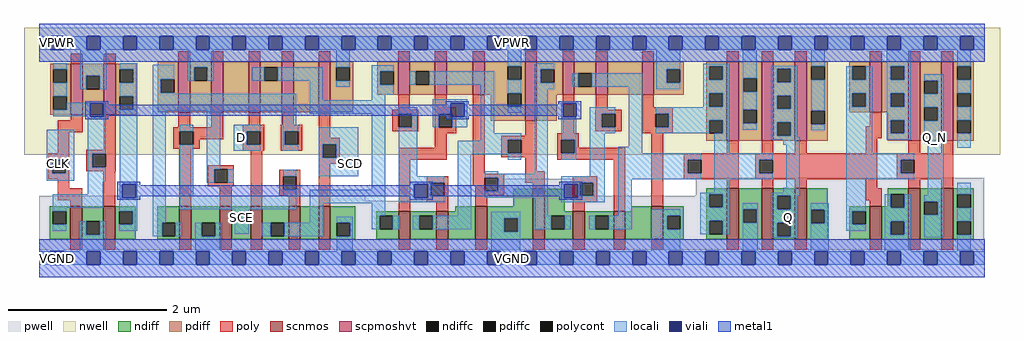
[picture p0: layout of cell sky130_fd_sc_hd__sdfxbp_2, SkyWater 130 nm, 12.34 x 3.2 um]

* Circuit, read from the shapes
.subckt sky130_fd_sc_hd__sdfxbp_2 CLK D SCD SCE VGND VNB VPB VPWR Q Q_N
XM1 VGND CLK n1 VNB sky130_fd_pr__nfet_01v8 w=0.42 l=0.15
XM2 n2 n1 VGND VNB sky130_fd_pr__nfet_01v8 w=0.42 l=0.15
XM3 VGND SCE n3 VNB sky130_fd_pr__nfet_01v8 w=0.42 l=0.15
XM4 n4 n3 VGND VNB sky130_fd_pr__nfet_01v8 w=0.42 l=0.15
XM5 n5 D n4 VNB sky130_fd_pr__nfet_01v8 w=0.42 l=0.15
XM6 n6 SCE n5 VNB sky130_fd_pr__nfet_01v8 w=0.42 l=0.15
XM7 VGND SCD n6 VNB sky130_fd_pr__nfet_01v8 w=0.42 l=0.15
XM8 n7 n1 n5 VNB sky130_fd_pr__nfet_01v8 w=0.36 l=0.15
XM9 n8 n2 n7 VNB sky130_fd_pr__nfet_01v8 w=0.36 l=0.15
XM10 VGND n9 n8 VNB sky130_fd_pr__nfet_01v8 w=0.42 l=0.15
XM11 n9 n7 VGND VNB sky130_fd_pr__nfet_01v8 w=0.64 l=0.15
XM12 n10 n2 n9 VNB sky130_fd_pr__nfet_01v8 w=0.36 l=0.15
XM13 n11 n1 n10 VNB sky130_fd_pr__nfet_01v8 w=0.36 l=0.15
XM14 VGND n12 n11 VNB sky130_fd_pr__nfet_01v8 w=0.42 l=0.15
XM15 VGND n10 n12 VNB sky130_fd_pr__nfet_01v8 w=0.65 l=0.15
XM16 Q n12 VGND VNB sky130_fd_pr__nfet_01v8 w=0.65 l=0.15 m=2
XM17 VGND n12 n13 VNB sky130_fd_pr__nfet_01v8 w=0.42 l=0.15
XM18 Q_N n13 VGND VNB sky130_fd_pr__nfet_01v8 w=0.65 l=0.15 m=2
XM19 VPWR CLK n1 VPB sky130_fd_pr__pfet_01v8_hvt w=0.64 l=0.15
XM20 n2 n1 VPWR VPB sky130_fd_pr__pfet_01v8_hvt w=0.64 l=0.15
XM21 VPWR SCE n3 VPB sky130_fd_pr__pfet_01v8_hvt w=0.64 l=0.15
XM22 n14 SCE VPWR VPB sky130_fd_pr__pfet_01v8_hvt w=0.64 l=0.15
XM23 n5 D n14 VPB sky130_fd_pr__pfet_01v8_hvt w=0.64 l=0.15
XM24 n15 n3 n5 VPB sky130_fd_pr__pfet_01v8_hvt w=0.64 l=0.15
XM25 VPWR SCD n15 VPB sky130_fd_pr__pfet_01v8_hvt w=0.64 l=0.15
XM26 n7 n2 n5 VPB sky130_fd_pr__pfet_01v8_hvt w=0.42 l=0.15
XM27 n16 n1 n7 VPB sky130_fd_pr__pfet_01v8_hvt w=0.42 l=0.15
XM28 VPWR n9 n16 VPB sky130_fd_pr__pfet_01v8_hvt w=0.42 l=0.15
XM29 n9 n7 VPWR VPB sky130_fd_pr__pfet_01v8_hvt w=0.75 l=0.15
XM30 n10 n1 n9 VPB sky130_fd_pr__pfet_01v8_hvt w=0.42 l=0.15
XM31 n17 n2 n10 VPB sky130_fd_pr__pfet_01v8_hvt w=0.42 l=0.15
XM32 VPWR n12 n17 VPB sky130_fd_pr__pfet_01v8_hvt w=0.42 l=0.15
XM33 VPWR n10 n12 VPB sky130_fd_pr__pfet_01v8_hvt w=1 l=0.15
XM34 Q n12 VPWR VPB sky130_fd_pr__pfet_01v8_hvt w=1 l=0.15 m=2
XM35 VPWR n12 n13 VPB sky130_fd_pr__pfet_01v8_hvt w=0.64 l=0.15
XM36 Q_N n13 VPWR VPB sky130_fd_pr__pfet_01v8_hvt w=1 l=0.15 m=2
.ends

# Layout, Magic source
magic
tech sky130B
magscale 1 2
<< nwell >>
rect -38 261 2430 582
<< pwell >>
rect 1173 157 1355 201
rect 1661 157 2390 203
rect 1 145 825 157
rect 1027 145 2390 157
rect 1 21 2390 145
rect 29 -17 63 21
<< scnmos >>
rect 79 47 109 131
rect 163 47 193 131
rect 355 47 385 131
rect 457 47 487 131
rect 535 47 565 131
rect 631 47 661 131
rect 707 47 737 131
rect 909 47 939 119
rect 1005 47 1035 119
rect 1103 47 1133 131
rect 1249 47 1279 175
rect 1350 47 1380 119
rect 1453 47 1483 119
rect 1548 47 1578 131
rect 1739 47 1769 177
rect 1827 47 1857 177
rect 1911 47 1941 177
rect 2101 47 2131 131
rect 2198 47 2228 177
rect 2282 47 2312 177
<< scpmoshvt >>
rect 80 363 110 491
rect 164 363 194 491
rect 352 369 382 497
rect 436 369 466 497
rect 530 369 560 497
rect 614 369 644 497
rect 707 369 737 497
rect 908 413 938 497
rect 1001 413 1031 497
rect 1097 413 1127 497
rect 1229 347 1259 497
rect 1324 413 1354 497
rect 1408 413 1438 497
rect 1525 413 1555 497
rect 1739 297 1769 497
rect 1827 297 1857 497
rect 1911 297 1941 497
rect 2101 369 2131 497
rect 2198 297 2228 497
rect 2282 297 2312 497
<< ndiff >>
rect 27 119 79 131
rect 27 85 35 119
rect 69 85 79 119
rect 27 47 79 85
rect 109 93 163 131
rect 109 59 119 93
rect 153 59 163 93
rect 109 47 163 59
rect 193 119 245 131
rect 193 85 203 119
rect 237 85 245 119
rect 193 47 245 85
rect 299 89 355 131
rect 299 55 311 89
rect 345 55 355 89
rect 299 47 355 55
rect 385 89 457 131
rect 385 55 411 89
rect 445 55 457 89
rect 385 47 457 55
rect 487 47 535 131
rect 565 89 631 131
rect 565 55 586 89
rect 620 55 631 89
rect 565 47 631 55
rect 661 47 707 131
rect 737 89 799 131
rect 1199 131 1249 175
rect 1053 119 1103 131
rect 737 55 753 89
rect 787 55 799 89
rect 737 47 799 55
rect 853 107 909 119
rect 853 73 861 107
rect 895 73 909 107
rect 853 47 909 73
rect 939 107 1005 119
rect 939 73 961 107
rect 995 73 1005 107
rect 939 47 1005 73
rect 1035 47 1103 119
rect 1133 101 1249 131
rect 1133 67 1177 101
rect 1211 67 1249 101
rect 1133 47 1249 67
rect 1279 119 1329 175
rect 1687 162 1739 177
rect 1498 119 1548 131
rect 1279 107 1350 119
rect 1279 73 1295 107
rect 1329 73 1350 107
rect 1279 47 1350 73
rect 1380 107 1453 119
rect 1380 73 1407 107
rect 1441 73 1453 107
rect 1380 47 1453 73
rect 1483 47 1548 119
rect 1578 107 1630 131
rect 1578 73 1588 107
rect 1622 73 1630 107
rect 1578 47 1630 73
rect 1687 128 1695 162
rect 1729 128 1739 162
rect 1687 94 1739 128
rect 1687 60 1695 94
rect 1729 60 1739 94
rect 1687 47 1739 60
rect 1769 123 1827 177
rect 1769 89 1781 123
rect 1815 89 1827 123
rect 1769 47 1827 89
rect 1857 157 1911 177
rect 1857 123 1867 157
rect 1901 123 1911 157
rect 1857 89 1911 123
rect 1857 55 1867 89
rect 1901 55 1911 89
rect 1857 47 1911 55
rect 1941 122 1995 177
rect 2146 161 2198 177
rect 2146 131 2154 161
rect 1941 88 1953 122
rect 1987 88 1995 122
rect 1941 47 1995 88
rect 2049 119 2101 131
rect 2049 85 2057 119
rect 2091 85 2101 119
rect 2049 47 2101 85
rect 2131 127 2154 131
rect 2188 127 2198 161
rect 2131 93 2198 127
rect 2131 59 2154 93
rect 2188 59 2198 93
rect 2131 47 2198 59
rect 2228 143 2282 177
rect 2228 109 2238 143
rect 2272 109 2282 143
rect 2228 47 2282 109
rect 2312 161 2364 177
rect 2312 127 2322 161
rect 2356 127 2364 161
rect 2312 93 2364 127
rect 2312 59 2322 93
rect 2356 59 2364 93
rect 2312 47 2364 59
<< pdiff >>
rect 28 477 80 491
rect 28 443 36 477
rect 70 443 80 477
rect 28 409 80 443
rect 28 375 36 409
rect 70 375 80 409
rect 28 363 80 375
rect 110 461 164 491
rect 110 427 120 461
rect 154 427 164 461
rect 110 363 164 427
rect 194 477 246 491
rect 194 443 204 477
rect 238 443 246 477
rect 194 409 246 443
rect 194 375 204 409
rect 238 375 246 409
rect 194 363 246 375
rect 300 452 352 497
rect 300 418 308 452
rect 342 418 352 452
rect 300 369 352 418
rect 382 483 436 497
rect 382 449 392 483
rect 426 449 436 483
rect 382 369 436 449
rect 466 369 530 497
rect 560 483 614 497
rect 560 449 570 483
rect 604 449 614 483
rect 560 369 614 449
rect 644 369 707 497
rect 737 483 794 497
rect 737 449 752 483
rect 786 449 794 483
rect 737 369 794 449
rect 855 472 908 497
rect 855 438 863 472
rect 897 438 908 472
rect 855 413 908 438
rect 938 472 1001 497
rect 938 438 953 472
rect 987 438 1001 472
rect 938 413 1001 438
rect 1031 413 1097 497
rect 1127 485 1229 497
rect 1127 451 1185 485
rect 1219 451 1229 485
rect 1127 417 1229 451
rect 1127 413 1185 417
rect 1142 383 1185 413
rect 1219 383 1229 417
rect 1142 347 1229 383
rect 1259 477 1324 497
rect 1259 443 1269 477
rect 1303 443 1324 477
rect 1259 413 1324 443
rect 1354 467 1408 497
rect 1354 433 1364 467
rect 1398 433 1408 467
rect 1354 413 1408 433
rect 1438 413 1525 497
rect 1555 477 1630 497
rect 1555 443 1587 477
rect 1621 443 1630 477
rect 1555 413 1630 443
rect 1687 485 1739 497
rect 1687 451 1695 485
rect 1729 451 1739 485
rect 1687 417 1739 451
rect 1259 347 1309 413
rect 1687 383 1695 417
rect 1729 383 1739 417
rect 1687 349 1739 383
rect 1687 315 1695 349
rect 1729 315 1739 349
rect 1687 297 1739 315
rect 1769 455 1827 497
rect 1769 421 1781 455
rect 1815 421 1827 455
rect 1769 375 1827 421
rect 1769 341 1781 375
rect 1815 341 1827 375
rect 1769 297 1827 341
rect 1857 479 1911 497
rect 1857 445 1867 479
rect 1901 445 1911 479
rect 1857 411 1911 445
rect 1857 377 1867 411
rect 1901 377 1911 411
rect 1857 343 1911 377
rect 1857 309 1867 343
rect 1901 309 1911 343
rect 1857 297 1911 309
rect 1941 485 1995 497
rect 1941 451 1953 485
rect 1987 451 1995 485
rect 1941 373 1995 451
rect 1941 339 1953 373
rect 1987 339 1995 373
rect 2049 485 2101 497
rect 2049 451 2057 485
rect 2091 451 2101 485
rect 2049 417 2101 451
rect 2049 383 2057 417
rect 2091 383 2101 417
rect 2049 369 2101 383
rect 2131 485 2198 497
rect 2131 451 2154 485
rect 2188 451 2198 485
rect 2131 417 2198 451
rect 2131 383 2154 417
rect 2188 383 2198 417
rect 2131 369 2198 383
rect 1941 297 1995 339
rect 2146 349 2198 369
rect 2146 315 2154 349
rect 2188 315 2198 349
rect 2146 297 2198 315
rect 2228 449 2282 497
rect 2228 415 2238 449
rect 2272 415 2282 449
rect 2228 381 2282 415
rect 2228 347 2238 381
rect 2272 347 2282 381
rect 2228 297 2282 347
rect 2312 485 2364 497
rect 2312 451 2322 485
rect 2356 451 2364 485
rect 2312 417 2364 451
rect 2312 383 2322 417
rect 2356 383 2364 417
rect 2312 349 2364 383
rect 2312 315 2322 349
rect 2356 315 2364 349
rect 2312 297 2364 315
<< ndiffc >>
rect 35 85 69 119
rect 119 59 153 93
rect 203 85 237 119
rect 311 55 345 89
rect 411 55 445 89
rect 586 55 620 89
rect 753 55 787 89
rect 861 73 895 107
rect 961 73 995 107
rect 1177 67 1211 101
rect 1295 73 1329 107
rect 1407 73 1441 107
rect 1588 73 1622 107
rect 1695 128 1729 162
rect 1695 60 1729 94
rect 1781 89 1815 123
rect 1867 123 1901 157
rect 1867 55 1901 89
rect 1953 88 1987 122
rect 2057 85 2091 119
rect 2154 127 2188 161
rect 2154 59 2188 93
rect 2238 109 2272 143
rect 2322 127 2356 161
rect 2322 59 2356 93
<< pdiffc >>
rect 36 443 70 477
rect 36 375 70 409
rect 120 427 154 461
rect 204 443 238 477
rect 204 375 238 409
rect 308 418 342 452
rect 392 449 426 483
rect 570 449 604 483
rect 752 449 786 483
rect 863 438 897 472
rect 953 438 987 472
rect 1185 451 1219 485
rect 1185 383 1219 417
rect 1269 443 1303 477
rect 1364 433 1398 467
rect 1587 443 1621 477
rect 1695 451 1729 485
rect 1695 383 1729 417
rect 1695 315 1729 349
rect 1781 421 1815 455
rect 1781 341 1815 375
rect 1867 445 1901 479
rect 1867 377 1901 411
rect 1867 309 1901 343
rect 1953 451 1987 485
rect 1953 339 1987 373
rect 2057 451 2091 485
rect 2057 383 2091 417
rect 2154 451 2188 485
rect 2154 383 2188 417
rect 2154 315 2188 349
rect 2238 415 2272 449
rect 2238 347 2272 381
rect 2322 451 2356 485
rect 2322 383 2356 417
rect 2322 315 2356 349
<< poly >>
rect 80 491 110 517
rect 164 491 194 517
rect 352 497 382 523
rect 436 497 466 523
rect 530 497 560 523
rect 614 497 644 523
rect 707 497 737 523
rect 908 497 938 523
rect 1001 497 1031 523
rect 1097 497 1127 523
rect 1229 497 1259 523
rect 1324 497 1354 523
rect 1408 497 1438 523
rect 1525 497 1555 523
rect 1739 497 1769 523
rect 1827 497 1857 523
rect 1911 497 1941 523
rect 2101 497 2131 523
rect 2198 497 2228 523
rect 2282 497 2312 523
rect 908 375 938 413
rect 1001 381 1031 413
rect 80 348 110 363
rect 47 318 110 348
rect 47 265 77 318
rect 164 274 194 363
rect 352 331 382 369
rect 436 331 466 369
rect 530 337 560 369
rect 614 337 644 369
rect 340 321 466 331
rect 340 287 356 321
rect 390 301 466 321
rect 515 321 569 337
rect 390 287 406 301
rect 340 277 406 287
rect 515 287 525 321
rect 559 287 569 321
rect 23 249 77 265
rect 23 215 33 249
rect 67 215 77 249
rect 119 264 194 274
rect 119 230 135 264
rect 169 230 194 264
rect 119 220 194 230
rect 23 199 77 215
rect 47 176 77 199
rect 47 146 109 176
rect 79 131 109 146
rect 163 131 193 220
rect 355 131 385 277
rect 515 271 569 287
rect 611 321 665 337
rect 611 287 621 321
rect 655 287 665 321
rect 611 271 665 287
rect 707 304 737 369
rect 893 365 959 375
rect 893 331 909 365
rect 943 331 959 365
rect 893 321 959 331
rect 1001 365 1055 381
rect 1001 331 1011 365
rect 1045 331 1055 365
rect 1001 315 1055 331
rect 707 288 761 304
rect 427 225 493 235
rect 427 191 443 225
rect 477 191 493 225
rect 427 181 493 191
rect 457 131 487 181
rect 535 131 565 271
rect 707 254 717 288
rect 751 254 761 288
rect 1001 279 1031 315
rect 707 238 761 254
rect 909 249 1031 279
rect 607 207 661 223
rect 607 173 617 207
rect 651 173 661 207
rect 607 157 661 173
rect 631 131 661 157
rect 707 131 737 238
rect 909 119 939 249
rect 1097 213 1127 413
rect 1229 309 1259 347
rect 1324 315 1354 413
rect 1408 375 1438 413
rect 1525 381 1555 413
rect 1407 365 1473 375
rect 1407 331 1423 365
rect 1457 331 1473 365
rect 1407 321 1473 331
rect 1525 365 1603 381
rect 1525 331 1559 365
rect 1593 331 1603 365
rect 1525 315 1603 331
rect 1169 299 1259 309
rect 1169 265 1185 299
rect 1219 265 1259 299
rect 1169 255 1259 265
rect 1229 220 1259 255
rect 1311 299 1365 315
rect 1311 265 1321 299
rect 1355 279 1365 299
rect 1355 265 1483 279
rect 1311 249 1483 265
rect 981 191 1035 207
rect 981 157 991 191
rect 1025 157 1035 191
rect 1097 203 1177 213
rect 1097 183 1127 203
rect 981 141 1035 157
rect 1005 119 1035 141
rect 1103 169 1127 183
rect 1161 169 1177 203
rect 1229 190 1279 220
rect 1249 175 1279 190
rect 1350 191 1411 207
rect 1103 159 1177 169
rect 1103 131 1133 159
rect 1350 157 1367 191
rect 1401 157 1411 191
rect 1350 141 1411 157
rect 1350 119 1380 141
rect 1453 119 1483 249
rect 1548 131 1578 315
rect 2101 333 2131 369
rect 2090 303 2131 333
rect 1739 265 1769 297
rect 1827 265 1857 297
rect 1911 265 1941 297
rect 2090 265 2120 303
rect 2198 265 2228 297
rect 2282 265 2312 297
rect 1630 249 1769 265
rect 1630 215 1640 249
rect 1674 215 1769 249
rect 1630 199 1769 215
rect 1811 249 2120 265
rect 1811 215 1821 249
rect 1855 215 2120 249
rect 1811 199 2120 215
rect 2169 249 2312 265
rect 2169 215 2179 249
rect 2213 215 2312 249
rect 2169 199 2312 215
rect 1739 177 1769 199
rect 1827 177 1857 199
rect 1911 177 1941 199
rect 2090 176 2120 199
rect 2198 177 2228 199
rect 2282 177 2312 199
rect 2090 146 2131 176
rect 2101 131 2131 146
rect 79 21 109 47
rect 163 21 193 47
rect 355 21 385 47
rect 457 21 487 47
rect 535 21 565 47
rect 631 21 661 47
rect 707 21 737 47
rect 909 21 939 47
rect 1005 21 1035 47
rect 1103 21 1133 47
rect 1249 21 1279 47
rect 1350 21 1380 47
rect 1453 21 1483 47
rect 1548 21 1578 47
rect 1739 21 1769 47
rect 1827 21 1857 47
rect 1911 21 1941 47
rect 2101 21 2131 47
rect 2198 21 2228 47
rect 2282 21 2312 47
<< polycont >>
rect 356 287 390 321
rect 525 287 559 321
rect 33 215 67 249
rect 135 230 169 264
rect 621 287 655 321
rect 909 331 943 365
rect 1011 331 1045 365
rect 443 191 477 225
rect 717 254 751 288
rect 617 173 651 207
rect 1423 331 1457 365
rect 1559 331 1593 365
rect 1185 265 1219 299
rect 1321 265 1355 299
rect 991 157 1025 191
rect 1127 169 1161 203
rect 1367 157 1401 191
rect 1640 215 1674 249
rect 1821 215 1855 249
rect 2179 215 2213 249
<< locali >>
rect 0 527 29 561
rect 63 527 121 561
rect 155 527 213 561
rect 247 527 305 561
rect 339 527 397 561
rect 431 527 489 561
rect 523 527 581 561
rect 615 527 673 561
rect 707 527 765 561
rect 799 527 857 561
rect 891 527 949 561
rect 983 527 1041 561
rect 1075 527 1133 561
rect 1167 527 1225 561
rect 1259 527 1317 561
rect 1351 527 1409 561
rect 1443 527 1501 561
rect 1535 527 1593 561
rect 1627 527 1685 561
rect 1719 527 1777 561
rect 1811 527 1869 561
rect 1903 527 1961 561
rect 1995 527 2053 561
rect 2087 527 2145 561
rect 2179 527 2237 561
rect 2271 527 2329 561
rect 2363 527 2392 561
rect 36 477 70 493
rect 36 409 70 443
rect 104 461 170 527
rect 104 427 120 461
rect 154 427 170 461
rect 204 477 249 493
rect 238 443 249 477
rect 204 409 249 443
rect 70 391 169 393
rect 70 375 129 391
rect 36 359 129 375
rect 123 357 129 359
rect 163 357 169 391
rect 19 249 89 325
rect 19 215 33 249
rect 67 215 89 249
rect 19 195 89 215
rect 123 264 169 357
rect 123 230 135 264
rect 123 194 169 230
rect 238 375 249 409
rect 123 161 162 194
rect 35 127 162 161
rect 204 187 249 375
rect 204 153 210 187
rect 244 153 249 187
rect 204 143 249 153
rect 35 119 69 127
rect 203 119 249 143
rect 35 69 69 85
rect 103 59 119 93
rect 153 59 169 93
rect 237 85 249 119
rect 203 69 249 85
rect 287 452 342 489
rect 287 418 308 452
rect 376 483 442 527
rect 752 483 786 527
rect 376 449 392 483
rect 426 449 442 483
rect 539 449 570 483
rect 604 449 718 483
rect 287 415 342 418
rect 287 372 650 415
rect 287 89 321 372
rect 356 321 390 337
rect 356 157 390 287
rect 424 225 458 372
rect 616 337 650 372
rect 684 399 718 449
rect 752 433 786 449
rect 841 472 897 488
rect 1185 485 1219 527
rect 841 438 863 472
rect 937 438 953 472
rect 987 438 1151 472
rect 841 413 897 438
rect 841 399 875 413
rect 684 365 875 399
rect 995 391 1083 402
rect 492 321 559 337
rect 492 287 525 321
rect 492 271 559 287
rect 616 321 655 337
rect 616 287 621 321
rect 616 271 655 287
rect 707 288 807 331
rect 707 254 717 288
rect 751 254 807 288
rect 424 191 443 225
rect 477 191 493 225
rect 617 207 651 223
rect 707 207 807 254
rect 841 173 875 365
rect 617 157 651 173
rect 356 123 651 157
rect 685 139 875 173
rect 909 365 957 381
rect 943 331 957 365
rect 995 365 1041 391
rect 995 331 1011 365
rect 1075 357 1083 391
rect 1045 331 1083 357
rect 909 207 957 331
rect 1117 315 1151 438
rect 1185 417 1219 451
rect 1185 367 1219 383
rect 1253 477 1303 493
rect 1253 443 1269 477
rect 1561 477 1622 527
rect 1253 427 1303 443
rect 1348 433 1364 467
rect 1398 433 1525 467
rect 1117 299 1219 315
rect 1117 297 1185 299
rect 1059 265 1185 297
rect 1059 263 1219 265
rect 909 191 1025 207
rect 909 187 991 191
rect 909 153 949 187
rect 983 157 991 187
rect 983 153 1025 157
rect 909 141 1025 153
rect 103 17 169 59
rect 287 55 311 89
rect 345 55 361 89
rect 395 55 411 89
rect 445 55 461 89
rect 495 61 530 123
rect 685 89 719 139
rect 841 107 875 139
rect 1059 107 1093 263
rect 1185 249 1219 263
rect 1127 213 1161 219
rect 1253 213 1287 427
rect 1321 391 1359 393
rect 1321 357 1325 391
rect 1321 299 1359 357
rect 1355 265 1359 299
rect 1321 249 1359 265
rect 1393 365 1457 381
rect 1393 331 1423 365
rect 1393 315 1457 331
rect 1127 203 1287 213
rect 1393 207 1431 315
rect 1491 281 1525 433
rect 1561 443 1587 477
rect 1621 443 1622 477
rect 1561 427 1622 443
rect 1679 485 1745 491
rect 1679 451 1695 485
rect 1729 451 1745 485
rect 1679 417 1745 451
rect 1679 383 1695 417
rect 1729 383 1745 417
rect 1679 381 1745 383
rect 1559 365 1745 381
rect 1593 349 1745 365
rect 1593 331 1695 349
rect 1559 315 1695 331
rect 1729 315 1745 349
rect 1779 455 1815 527
rect 1779 421 1781 455
rect 1779 375 1815 421
rect 1779 341 1781 375
rect 1779 325 1815 341
rect 1851 479 1917 486
rect 1851 445 1867 479
rect 1901 445 1917 479
rect 1851 411 1917 445
rect 1851 377 1867 411
rect 1901 377 1917 411
rect 1851 343 1917 377
rect 1161 169 1287 203
rect 1127 153 1287 169
rect 564 55 586 89
rect 620 55 719 89
rect 753 89 793 105
rect 787 55 793 89
rect 841 73 861 107
rect 895 73 911 107
rect 945 73 961 107
rect 995 73 1093 107
rect 1143 101 1217 117
rect 395 17 461 55
rect 753 17 793 55
rect 1143 67 1177 101
rect 1211 67 1217 101
rect 1253 107 1287 153
rect 1321 191 1431 207
rect 1321 187 1367 191
rect 1321 153 1328 187
rect 1362 157 1367 187
rect 1401 157 1431 191
rect 1362 153 1431 157
rect 1321 141 1431 153
rect 1465 265 1525 281
rect 1708 265 1745 315
rect 1851 309 1867 343
rect 1901 309 1917 343
rect 1953 485 1987 527
rect 2143 485 2204 527
rect 1953 373 1987 451
rect 1953 323 1987 339
rect 2041 451 2057 485
rect 2091 451 2107 485
rect 2041 417 2107 451
rect 2041 383 2057 417
rect 2091 383 2107 417
rect 1851 306 1917 309
rect 1851 299 1923 306
rect 1882 286 1923 299
rect 1465 249 1674 265
rect 1465 215 1640 249
rect 1465 199 1674 215
rect 1708 249 1855 265
rect 1708 215 1821 249
rect 1708 199 1855 215
rect 1465 107 1499 199
rect 1708 165 1745 199
rect 1889 178 1923 286
rect 1882 165 1923 178
rect 1672 162 1745 165
rect 1672 128 1695 162
rect 1729 128 1745 162
rect 1851 158 1923 165
rect 2041 265 2107 383
rect 2143 451 2154 485
rect 2188 451 2204 485
rect 2322 485 2356 527
rect 2143 417 2204 451
rect 2143 383 2154 417
rect 2188 383 2204 417
rect 2143 349 2204 383
rect 2143 315 2154 349
rect 2188 315 2204 349
rect 2143 299 2204 315
rect 2238 449 2288 465
rect 2272 415 2288 449
rect 2238 381 2288 415
rect 2272 347 2288 381
rect 2238 289 2288 347
rect 2041 249 2213 265
rect 2041 215 2179 249
rect 2041 199 2213 215
rect 1851 157 1917 158
rect 1253 73 1295 107
rect 1329 73 1345 107
rect 1391 73 1407 107
rect 1441 73 1499 107
rect 1548 107 1622 123
rect 1548 73 1588 107
rect 1143 17 1217 67
rect 1548 17 1622 73
rect 1672 94 1745 128
rect 1672 60 1695 94
rect 1729 60 1745 94
rect 1779 123 1817 139
rect 1779 89 1781 123
rect 1815 89 1817 123
rect 1779 17 1817 89
rect 1851 123 1867 157
rect 1901 123 1917 157
rect 1851 89 1917 123
rect 1851 55 1867 89
rect 1901 55 1917 89
rect 1851 51 1917 55
rect 1951 122 1997 138
rect 1951 88 1953 122
rect 1987 88 1997 122
rect 1951 17 1997 88
rect 2041 119 2091 199
rect 2041 85 2057 119
rect 2041 69 2091 85
rect 2138 127 2154 161
rect 2188 127 2204 161
rect 2247 159 2288 289
rect 2322 417 2356 451
rect 2322 349 2356 383
rect 2322 279 2356 315
rect 2138 93 2204 127
rect 2138 59 2154 93
rect 2188 59 2204 93
rect 2138 17 2204 59
rect 2238 143 2288 159
rect 2272 109 2288 143
rect 2238 53 2288 109
rect 2322 161 2356 191
rect 2322 93 2356 127
rect 2322 17 2356 59
rect 0 -17 29 17
rect 63 -17 121 17
rect 155 -17 213 17
rect 247 -17 305 17
rect 339 -17 397 17
rect 431 -17 489 17
rect 523 -17 581 17
rect 615 -17 673 17
rect 707 -17 765 17
rect 799 -17 857 17
rect 891 -17 949 17
rect 983 -17 1041 17
rect 1075 -17 1133 17
rect 1167 -17 1225 17
rect 1259 -17 1317 17
rect 1351 -17 1409 17
rect 1443 -17 1501 17
rect 1535 -17 1593 17
rect 1627 -17 1685 17
rect 1719 -17 1777 17
rect 1811 -17 1869 17
rect 1903 -17 1961 17
rect 1995 -17 2053 17
rect 2087 -17 2145 17
rect 2179 -17 2237 17
rect 2271 -17 2329 17
rect 2363 -17 2392 17
<< viali >>
rect 29 527 63 561
rect 121 527 155 561
rect 213 527 247 561
rect 305 527 339 561
rect 397 527 431 561
rect 489 527 523 561
rect 581 527 615 561
rect 673 527 707 561
rect 765 527 799 561
rect 857 527 891 561
rect 949 527 983 561
rect 1041 527 1075 561
rect 1133 527 1167 561
rect 1225 527 1259 561
rect 1317 527 1351 561
rect 1409 527 1443 561
rect 1501 527 1535 561
rect 1593 527 1627 561
rect 1685 527 1719 561
rect 1777 527 1811 561
rect 1869 527 1903 561
rect 1961 527 1995 561
rect 2053 527 2087 561
rect 2145 527 2179 561
rect 2237 527 2271 561
rect 2329 527 2363 561
rect 129 357 163 391
rect 210 153 244 187
rect 1041 365 1075 391
rect 1041 357 1045 365
rect 1045 357 1075 365
rect 949 153 983 187
rect 1325 357 1359 391
rect 1328 153 1362 187
rect 29 -17 63 17
rect 121 -17 155 17
rect 213 -17 247 17
rect 305 -17 339 17
rect 397 -17 431 17
rect 489 -17 523 17
rect 581 -17 615 17
rect 673 -17 707 17
rect 765 -17 799 17
rect 857 -17 891 17
rect 949 -17 983 17
rect 1041 -17 1075 17
rect 1133 -17 1167 17
rect 1225 -17 1259 17
rect 1317 -17 1351 17
rect 1409 -17 1443 17
rect 1501 -17 1535 17
rect 1593 -17 1627 17
rect 1685 -17 1719 17
rect 1777 -17 1811 17
rect 1869 -17 1903 17
rect 1961 -17 1995 17
rect 2053 -17 2087 17
rect 2145 -17 2179 17
rect 2237 -17 2271 17
rect 2329 -17 2363 17
<< metal1 >>
rect 0 561 2392 592
rect 0 527 29 561
rect 63 527 121 561
rect 155 527 213 561
rect 247 527 305 561
rect 339 527 397 561
rect 431 527 489 561
rect 523 527 581 561
rect 615 527 673 561
rect 707 527 765 561
rect 799 527 857 561
rect 891 527 949 561
rect 983 527 1041 561
rect 1075 527 1133 561
rect 1167 527 1225 561
rect 1259 527 1317 561
rect 1351 527 1409 561
rect 1443 527 1501 561
rect 1535 527 1593 561
rect 1627 527 1685 561
rect 1719 527 1777 561
rect 1811 527 1869 561
rect 1903 527 1961 561
rect 1995 527 2053 561
rect 2087 527 2145 561
rect 2179 527 2237 561
rect 2271 527 2329 561
rect 2363 527 2392 561
rect 0 496 2392 527
rect 117 391 175 397
rect 117 357 129 391
rect 163 388 175 391
rect 1029 391 1087 397
rect 1029 388 1041 391
rect 163 360 1041 388
rect 163 357 175 360
rect 117 351 175 357
rect 1029 357 1041 360
rect 1075 388 1087 391
rect 1313 391 1371 397
rect 1313 388 1325 391
rect 1075 360 1325 388
rect 1075 357 1087 360
rect 1029 351 1087 357
rect 1313 357 1325 360
rect 1359 357 1371 391
rect 1313 351 1371 357
rect 198 187 256 193
rect 198 153 210 187
rect 244 184 256 187
rect 937 187 995 193
rect 937 184 949 187
rect 244 156 949 184
rect 244 153 256 156
rect 198 147 256 153
rect 937 153 949 156
rect 983 184 995 187
rect 1316 187 1374 193
rect 1316 184 1328 187
rect 983 156 1328 184
rect 983 153 995 156
rect 937 147 995 153
rect 1316 153 1328 156
rect 1362 153 1374 187
rect 1316 147 1374 153
rect 0 17 2392 48
rect 0 -17 29 17
rect 63 -17 121 17
rect 155 -17 213 17
rect 247 -17 305 17
rect 339 -17 397 17
rect 431 -17 489 17
rect 523 -17 581 17
rect 615 -17 673 17
rect 707 -17 765 17
rect 799 -17 857 17
rect 891 -17 949 17
rect 983 -17 1041 17
rect 1075 -17 1133 17
rect 1167 -17 1225 17
rect 1259 -17 1317 17
rect 1351 -17 1409 17
rect 1443 -17 1501 17
rect 1535 -17 1593 17
rect 1627 -17 1685 17
rect 1719 -17 1777 17
rect 1811 -17 1869 17
rect 1903 -17 1961 17
rect 1995 -17 2053 17
rect 2087 -17 2145 17
rect 2179 -17 2237 17
rect 2271 -17 2329 17
rect 2363 -17 2392 17
rect 0 -48 2392 -17
<< labels >>
flabel metal1 s 29 -17 63 17 0 FreeSans 200 0 0 0 VGND
port 5 nsew ground bidirectional abutment
flabel metal1 s 29 527 63 561 0 FreeSans 200 0 0 0 VPWR
port 8 nsew power bidirectional abutment
flabel locali s 771 221 805 255 0 FreeSans 300 0 0 0 SCD
port 3 nsew signal input
flabel locali s 495 289 529 323 0 FreeSans 300 0 0 0 D
port 2 nsew signal input
flabel locali s 2247 289 2281 323 0 FreeSans 400 0 0 0 Q_N
port 10 nsew signal output
flabel locali s 495 85 529 119 0 FreeSans 300 0 0 0 SCE
port 4 nsew signal input
flabel locali s 31 221 65 255 0 FreeSans 400 0 0 0 CLK
port 1 nsew clock input
flabel locali s 1879 85 1913 119 0 FreeSans 200 0 0 0 Q
port 9 nsew signal output
flabel pwell s 29 -17 63 17 0 FreeSans 200 0 0 0 VNB
port 6 nsew ground bidirectional
flabel pwell s 46 0 46 0 0 FreeSans 200 0 0 0 VNB
flabel nwell s 29 527 63 561 0 FreeSans 200 0 0 0 VPB
port 7 nsew power bidirectional
flabel nwell s 46 544 46 544 0 FreeSans 200 0 0 0 VPB
rlabel comment s 0 0 0 0 4 sdfxbp_2
rlabel metal1 s 0 -48 2392 48 1 VGND
port 5 nsew ground bidirectional abutment
rlabel metal1 s 0 496 2392 592 1 VPWR
port 8 nsew power bidirectional abutment
<< properties >>
string FIXED_BBOX 0 0 2392 544
string GDS_END 361040
string GDS_FILE $PDKPATH/libs.ref/sky130_fd_sc_hd/gds/sky130_fd_sc_hd.gds
string GDS_START 343158
string LEFclass CORE
string LEFsite unithd
string LEFsymmetry X Y R90
string path 0.000 0.000 11.960 0.000 
<< end >>
